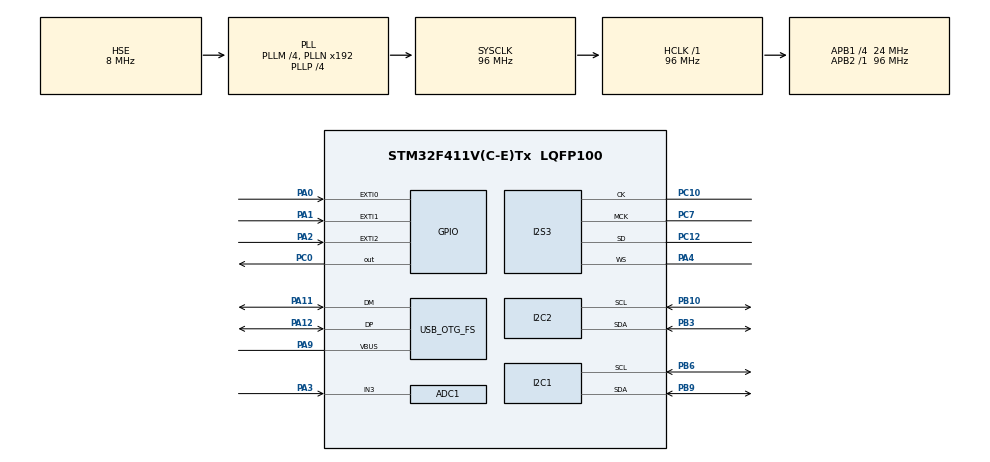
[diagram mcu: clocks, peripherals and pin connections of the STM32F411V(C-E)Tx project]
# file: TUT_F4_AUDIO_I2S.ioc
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ADC1.Channel-0\#ChannelRegularConversion=ADC_CHANNEL_3
ADC1.NbrOfConversionFlag=1
ADC1.Rank-0\#ChannelRegularConversion=1
ADC1.SamplingTime-0\#ChannelRegularConversion=ADC_SAMPLETIME_3CYCLES
ADC1.master=1
Dma.Request0=SPI3_TX
Dma.SPI3_TX.0.Direction=DMA_MEMORY_TO_PERIPH
Dma.SPI3_TX.0.FIFOMode=DMA_FIFOMODE_ENABLE
Dma.SPI3_TX.0.FIFOThreshold=DMA_FIFO_THRESHOLD_FULL
Dma.SPI3_TX.0.Instance=DMA1_Stream5
Dma.SPI3_TX.0.MemBurst=DMA_MBURST_SINGLE
Dma.SPI3_TX.0.MemDataAlignment=DMA_MDATAALIGN_HALFWORD
Dma.SPI3_TX.0.MemInc=DMA_MINC_ENABLE
Dma.SPI3_TX.0.Mode=DMA_CIRCULAR
Dma.SPI3_TX.0.PeriphBurst=DMA_PBURST_SINGLE
Dma.SPI3_TX.0.PeriphDataAlignment=DMA_PDATAALIGN_HALFWORD
Dma.SPI3_TX.0.PeriphInc=DMA_PINC_DISABLE
Dma.SPI3_TX.0.Priority=DMA_PRIORITY_LOW
FATFS._USE_LFN=1
I2S3.AudioFreq=I2S_AUDIOFREQ_44K
I2S3.ErrorAudioFreq=1.45 %
I2S3.FullDuplexMode=I2S_FULLDUPLEXMODE_DISABLE
I2S3.Instance=SPI$Index
I2S3.RealAudioFreq=44.642 KHz
I2S3.VirtualMode=I2S_MODE_MASTER
Mcu.Family=STM32F4
Mcu.Name=STM32F411V(C-E)Tx
Mcu.Package=LQFP100
NVIC.ADC_IRQn=true\:0\:0\:false\:false\:true\:true\:true\:true
NVIC.DMA1_Stream5_IRQn=true\:0\:0\:false\:false\:true\:false\:true\:true
NVIC.EXTI0_IRQn=true\:0\:0\:false\:false\:true\:true\:true\:true
NVIC.EXTI1_IRQn=true\:0\:0\:false\:false\:true\:true\:true\:true
NVIC.EXTI2_IRQn=true\:0\:0\:false\:false\:true\:true\:true\:true
NVIC.OTG_FS_IRQn=true\:0\:0\:false\:false\:true\:true\:true\:true
NVIC.PriorityGroup=NVIC_PRIORITYGROUP_0
NVIC.TIM3_IRQn=true\:0\:0\:false\:false\:true\:true\:true\:true
PA0-WKUP.GPIO_PuPd=GPIO_PULLDOWN
PA0-WKUP.Signal=GPXTI0
PA1.GPIO_PuPd=GPIO_PULLDOWN
PA1.Signal=GPXTI1
PA11.Mode=Host_Only
PA11.Signal=USB_OTG_FS_DM
PA12.Mode=Host_Only
PA12.Signal=USB_OTG_FS_DP
PA2.GPIO_PuPd=GPIO_PULLDOWN
PA2.Signal=GPXTI2
PA3.Signal=SharedAnalog_PA3
PA4.Mode=Half_Duplex_Master
PA4.Signal=I2S3_WS
PA9.Mode=Activate_VBUS
PA9.Signal=USB_OTG_FS_VBUS
PB10.Mode=I2C
PB10.Signal=I2C2_SCL
PB3.Mode=I2C
PB3.Signal=I2C2_SDA
PB6.GPIO_Pu=GPIO_PULLUP
PB6.Mode=I2C
PB6.Signal=I2C1_SCL
PB9.GPIO_Pu=GPIO_PULLUP
PB9.Mode=I2C
PB9.Signal=I2C1_SDA
PC0.Signal=GPIO_Output
PC10.Mode=Half_Duplex_Master
PC10.Signal=I2S3_CK
PC12.Mode=Half_Duplex_Master
PC12.Signal=I2S3_SD
PC7.Mode=Master_Clock_Activated
PC7.Signal=I2S3_MCK
PH0\ -\ OSC_IN.Mode=HSE-External-Oscillator
PH0\ -\ OSC_IN.Signal=RCC_OSC_IN
PH1\ -\ OSC_OUT.Mode=HSE-External-Oscillator
PH1\ -\ OSC_OUT.Signal=RCC_OSC_OUT
ProjectManager.HeapSize=0x200
ProjectManager.StackSize=0x400
ProjectManager.TargetToolchain=STM32CubeIDE
RCC.48MHZClocksFreq_Value=48000000
RCC.AHBFreq_Value=96000000
RCC.APB1CLKDivider=RCC_HCLK_DIV4
RCC.APB1Freq_Value=24000000
RCC.APB1TimFreq_Value=48000000
RCC.APB2Freq_Value=96000000
RCC.APB2TimFreq_Value=96000000
RCC.CortexFreq_Value=96000000
RCC.HCLKFreq_Value=96000000
RCC.HSE_VALUE=8000000
RCC.HSI_VALUE=16000000
RCC.LSE_VALUE=32768
RCC.PLLI2SM=5
RCC.PLLI2SN=200
RCC.PLLM=4
RCC.PLLP=RCC_PLLP_DIV4
RCC.PLLQ=8
RCC.SYSCLKFreq_VALUE=96000000
RCC.SYSCLKSource=RCC_SYSCLKSOURCE_PLLCLK
RCC.VCOOutputFreq_Value=384000000
SH.SharedAnalog_PA3.0=GPIO_Analog
SH.SharedAnalog_PA3.1=ADC1_IN3,IN3
TIM3.Channel-Output\ Compare1\ No\ Output=TIM_CHANNEL_1
TIM3.Period=999
TIM3.Prescaler=47999
TIM3.Pulse-Output\ Compare1\ No\ Output=999
USB_HOST.BSP.number=1
USB_HOST.USBH_HandleTypeDef=hUsbHostFS
USB_HOST.VirtualModeFS=Msc
USB_HOST0.BSP.STBoard=false
USB_HOST0.BSP.api=Unknown
USB_HOST0.BSP.instance=PC0
USB_HOST0.BSP.ip=GPIO
USB_HOST0.BSP.mode=Output
USB_HOST0.BSP.name=Drive_VBUS_FS
USB_HOST0.BSP.solution=PC0
USB_OTG_FS.VirtualMode=Host_Only
USB_OTG_FS.phy_itface=HCD_PHY_EMBEDDED
VP_FATFS_VS_USB.Mode=USB
VP_TIM3_VS_no_output1.Mode=Output Compare1 No Output
VP_USB_HOST_VS_USB_HOST_MSC_FS.Mode=MSC_FS
board=STM32F411E-DISCO

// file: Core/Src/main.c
/* USER CODE BEGIN Header */
/**
  ******************************************************************************
  * @file           : main.c
  * @brief          : Main program body
  ******************************************************************************
  * @attention
  *
  * <h2><center>&copy; Copyright (c) 2021 STMicroelectronics.
  * All rights reserved.</center></h2>
  *
  * This software component is licensed by ST under Ultimate Liberty license
  * SLA0044, the "License"; You may not use this file except in compliance with
  * the License. You may obtain a copy of the License at:
  *                             www.st.com/SLA0044
  *
  ******************************************************************************
  */
/* USER CODE END Header */
#include "main.h"
#include "fatfs.h"
#include "usb_host.h"

/* USER CODE BEGIN Includes */

#include "waveplayer.h"
#include "File_Handling.h"
#include "string.h"
#include <stdio.h>
#include "i2c_lcd.h"
#include <stdlib.h>
#include <stm32f4xx.h>

/* USER CODE END Includes */

/* USER CODE BEGIN PD */
#define TAM_STRING 40

/* USER CODE END PD */

ADC_HandleTypeDef hadc1;

I2C_HandleTypeDef hi2c1;
I2C_HandleTypeDef hi2c2;

I2S_HandleTypeDef hi2s3;
DMA_HandleTypeDef hdma_spi3_tx;

TIM_HandleTypeDef htim3;

/* USER CODE BEGIN PV */

I2C_LCD_HandleTypeDef lcd1;

/* USER CODE END PV */

void SystemClock_Config(void);
static void MX_GPIO_Init(void);
static void MX_DMA_Init(void);
static void MX_I2C1_Init(void);
static void MX_I2S3_Init(void);
static void MX_I2C2_Init(void);
static void MX_ADC1_Init(void);
static void MX_TIM3_Init(void);
void MX_USB_HOST_Process(void);

/* USER CODE BEGIN 0 */

extern ApplicationTypeDef Appli_state;
extern AUDIO_PLAYBACK_StateTypeDef AudioState;
extern uint32_t uwVolume = 75;
extern FRESULT fresult;
extern FILELIST_FileTypeDef TxtList;
extern uint16_t NumObs;

int IsFinished = 0;
volatile uint32_t valpot;
volatile uint8_t idx = 0;

volatile estado = 0;
volatile uint8_t t_linea = 0;
volatile uint8_t t_letra_deseado = 0;

volatile uint8_t cambio_linea = 1;
volatile uint8_t primera_linea = 1;

FIL filetxt;
char buffertxt[4096];

// Banderas botones
volatile boton1 = 0;	// izquierda
volatile boton2 = 0;	// derecha
volatile boton0 = 0;	// centro

void HAL_GPIO_EXTI_Callback(uint16_t GPIO_Pin)
{
	static uint32_t t_button = 0;

		if(HAL_GetTick() - t_button > 20){

			if (GPIO_Pin == GPIO_PIN_0)
			{
				boton0 = 1;
				//AudioState = AUDIO_STATE_NEXT;
				if(estado == 2){
					if (AudioState == AUDIO_STATE_PLAY)
					{
						AudioState = AUDIO_STATE_PAUSE;
						HAL_TIM_OC_Stop_IT(&htim3, TIM_CHANNEL_1);
						boton0=0;
					}

					if (AudioState == AUDIO_STATE_WAIT)
					{
						AudioState = AUDIO_STATE_RESUME;
						HAL_TIM_OC_Start_IT(&htim3, TIM_CHANNEL_1);
						boton0=0;
					}
				}
			}

			else if(GPIO_Pin == GPIO_PIN_1)
			{
				boton1 = 1;

			}

			else if (GPIO_Pin == GPIO_PIN_2)
			{
				boton2 = 1;
			}

		t_button = HAL_GetTick();
		}
}

void LeerPotenciometro(void){
	// No es necesario comprobar quién ha generado la interrupción
	HAL_ADC_Start(&hadc1);
	HAL_ADC_PollForConversion(&hadc1, 1000);
	valpot = HAL_ADC_GetValue(&hadc1);
	uwVolume = valpot*100/4095;
	if(uwVolume < 10)
		uwVolume = 10;
	else if(uwVolume > 90)
		uwVolume = 90;
	AUDIO_OUT_SetVolume(uwVolume);
}

void init_lcds(void){
	lcd1.hi2c = &hi2c2;
	lcd1.address = 0x4E;
	lcd_init(&lcd1);
}

void lcd_send_two_lines(const char *text) {

    char line1[17] = {0}; // Línea 1 (16 caracteres + terminador nulo)
    char line2[17] = {0}; // Línea 2 (16 caracteres + terminador nulo)
    int i=0;
    // Copiar los primeros 16 caracteres a la primera línea
    strncpy(line1, text, 16);

    // Si hay más de 16 caracteres, copiar los siguientes 16 a la segunda línea
    if (strlen(text) > 16) {
        strncpy(line2, text + 16, 16);
    }

    while (line2[i] != '\0') {  // Recorrer la cadena
            if (line2[i] == '.') {  // Si encontramos un punto
                line2[i] = '\0';  // Reemplazamos el punto por un carácter nulo
                break;  // Detenemos la búsqueda
            }
            i++;
        }
    while (line1[i] != '\0') {  // Recorrer la cadena
            if (line1[i] == '\r') {  // Si encontramos un punto
                line1[i] = ' ';  // Reemplazamos el punto por un carácter nulo
                break;  // Detenemos la búsqueda
            }
            i++;
         }

    while (line2[i] != '\0') {  // Recorrer la cadena
                if (line2[i] == '\r') {  // Si encontramos un punto
                    line2[i] = ' ';  // Reemplazamos el punto por un carácter nulo
                    break;  // Detenemos la búsqueda
                }
                i++;
    }

    // Mostrar las líneas en el LCD
    lcd_gotoxy(&lcd1, 0, 0);
    lcd_puts(&lcd1, line1);

    lcd_gotoxy(&lcd1, 0, 1);
    lcd_puts(&lcd1, line2);
}

void HAL_TIM_OC_DelayElapsedCallback(TIM_HandleTypeDef *htim)
{
	t_linea++;
}

void LeerFicheroTexto(char* buffer){
	UINT bytesRead;
	uint8_t i = 0;
	uint8_t buffer_correcto = 0;

	strcpy(buffer,"");
	fresult = f_read(&filetxt, buffer, 4096, &bytesRead);
	if(fresult == FR_OK){
		//Paramos al final de la última linea completa
		buffer_correcto = 0;
		for(i = bytesRead-1; i>0 && buffer_correcto == 0; i--){
			if(buffer[i]=='\n'){
				buffer[i+1] = '\0';
				fresult = f_lseek(&filetxt,f_tell(&filetxt) + i - (bytesRead));
				buffer_correcto = 1;
			}
		}
	}
}

void EnviarLetra(char* buffer_letra){
	static char linea[TAM_STRING] = "";
	char t_deseado_str[TAM_STRING];

	if(cambio_linea){
		if(primera_linea == 1){
			strncpy(linea,strtok(buffer_letra, "\n"),TAM_STRING);
			primera_linea = 0;
		}
		else {
			strncpy(linea,strtok(NULL, "\n"),TAM_STRING);
		}

		if(linea[0] == '\0'){
			strcpy(buffer_letra,"");
			LeerFicheroTexto(buffer_letra);
			strncpy(linea,strtok(buffer_letra, "\n"),TAM_STRING);
		}

		if(!strcmp("&",linea)){
			AudioState = AUDIO_STATE_STOP;
			uwVolume = 10;
			AUDIO_OUT_SetVolume(uwVolume);
			return;
		}

		//SACAR EL TIEMPO Y CONVERTIRLO
		strncpy(t_deseado_str,linea,2);
		t_letra_deseado = (t_deseado_str[0]-'0')*10+(t_deseado_str[1]-'0');

		strcpy(linea,linea+2);

		lcd_send_two_lines(linea);
		cambio_linea = 0;
	}
	else if(t_linea >= t_letra_deseado){
		t_linea = 0;
		cambio_linea = 1;
		lcd_gotoxy(&lcd1,0,0);
		lcd_clear(&lcd1);
	}
}

/* USER CODE END 0 */

int main(void)
{

  /* MCU Configuration--------------------------------------------------------*/

  /* Reset of all peripherals, Initializes the Flash interface and the Systick. */
  HAL_Init();

  /* Configure the system clock */
  SystemClock_Config();

  /* Initialize all configured peripherals */
  MX_GPIO_Init();
  MX_DMA_Init();
  MX_I2C1_Init();
  MX_I2S3_Init();
  MX_FATFS_Init();
  MX_USB_HOST_Init();
  MX_I2C2_Init();
  MX_ADC1_Init();
  MX_TIM3_Init();
  /* USER CODE BEGIN 2 */
  init_lcds();

  //HAL_ADC_Start_IT(&hadc1);
  HAL_ADC_Start(&hadc1);

  /* USER CODE END 2 */

  /* Infinite loop */
  while (1)
  {
    MX_USB_HOST_Process();

    /* USER CODE BEGIN 3 */
    switch(estado)
    {
    case 0:
    	lcd_gotoxy(&lcd1,0,0);
    	lcd_puts(&lcd1, "CONECTE USB");
    	if (Appli_state == APPLICATION_READY)
    	{
    		estado = 1;
    		lcd_gotoxy(&lcd1,0,0);
        	lcd_clear(&lcd1);
        	Mount_USB();
        	AUDIO_StorageParse();
    	}
    	break;

    case 1:
    	lcd_send_two_lines((char *)TxtList.file[idx].name);
    	//Mount_USB();
    	if (IsFinished)
    		IsFinished = 0;

    	//estado = 2;
    	if (boton0)
    	{
    		estado = 2;
    		boton0 = 0;
    		lcd_gotoxy(&lcd1,0,0);
    		lcd_clear(&lcd1);
    		AudioState = AUDIO_STATE_RESUME;
    		primera_linea = 1;
    	}
    	if (boton1)
    	{
    		if(idx>0)
    		{
    			idx--;
    		}
    		else
    		{
    			idx = NumObs-1;
    		}
    		boton1 = 0;
    		lcd_gotoxy(&lcd1,0,0);
    		lcd_clear(&lcd1);
    	}

    	if (boton2)
    	{
    		if(idx<NumObs-1)
    		{
    			idx++;
    		}
    		else
    		{
    		    idx = 0;
    		}
    		boton2 = 0;
    		lcd_gotoxy(&lcd1,0,0);
    		lcd_clear(&lcd1);
    	}

    	break;

    case 2:
    	//lcd_gotoxy(&lcd1,0,0);
    	//lcd_puts(&lcd1, "ESTADO 2");

    	if(fresult == FR_OK) // USB montado correctamente
    	{
    		Mount_USB();
    		AUDIO_PLAYER_Start(idx);
    		HAL_TIM_OC_Start_IT(&htim3, TIM_CHANNEL_1);
    		f_open(&filetxt, (char*)TxtList.file[idx].name, FA_READ);
    		LeerFicheroTexto(buffertxt);

    		if (IsFinished)
    			IsFinished = 0;

    		while (!IsFinished)
    		{
    			AUDIO_PLAYER_Process(TRUE);
    			EnviarLetra(buffertxt);
    		    LeerPotenciometro();
    		    if(boton1)
    		    {
    		    	boton1 = 0;
    		    	AudioState = AUDIO_STATE_STOP;
    		    	uwVolume = 10;
    		    	AUDIO_OUT_SetVolume(uwVolume);

    		    	// Silenciamos el audio porque queda un residuo de la canción al pararla

    		    }
    		    if (AudioState == AUDIO_STATE_STOP)
    		    {
    		    	IsFinished = 1;
    		    	estado = 1;
    	    		HAL_TIM_OC_Stop_IT(&htim3, TIM_CHANNEL_1);
    	    		f_lseek(&filetxt, 0);
    	    		f_close(&filetxt);
    	    		t_letra_deseado=0;
    	    		t_linea=0;
    	    		cambio_linea = 1;
    		    	AudioState = AUDIO_STATE_IDLE;
    		    }

    		}
    	}
    	else
    		estado = 0;

    	break;

    case 3:
    	break;
    }

    //if (Appli_state == APPLICATION_READY)
    //{
    //	Mount_USB();

    //}

  }
  /* USER CODE END 3 */
}

void SystemClock_Config(void)
{
  RCC_OscInitTypeDef RCC_OscInitStruct = {0};
  RCC_ClkInitTypeDef RCC_ClkInitStruct = {0};

  /** Configure the main internal regulator output voltage
  */
  __HAL_RCC_PWR_CLK_ENABLE();
  __HAL_PWR_VOLTAGESCALING_CONFIG(PWR_REGULATOR_VOLTAGE_SCALE1);

  /** Initializes the RCC Oscillators according to the specified parameters
  * in the RCC_OscInitTypeDef structure.
  */
  RCC_OscInitStruct.OscillatorType = RCC_OSCILLATORTYPE_HSE;
  RCC_OscInitStruct.HSEState = RCC_HSE_ON;
  RCC_OscInitStruct.PLL.PLLState = RCC_PLL_ON;
  RCC_OscInitStruct.PLL.PLLSource = RCC_PLLSOURCE_HSE;
  RCC_OscInitStruct.PLL.PLLM = 4;
  RCC_OscInitStruct.PLL.PLLN = 192;
  RCC_OscInitStruct.PLL.PLLP = RCC_PLLP_DIV4;
  RCC_OscInitStruct.PLL.PLLQ = 8;
  if (HAL_RCC_OscConfig(&RCC_OscInitStruct) != HAL_OK)
  {
    Error_Handler();
  }

  /** Initializes the CPU, AHB and APB buses clocks
  */
  RCC_ClkInitStruct.ClockType = RCC_CLOCKTYPE_HCLK|RCC_CLOCKTYPE_SYSCLK
                              |RCC_CLOCKTYPE_PCLK1|RCC_CLOCKTYPE_PCLK2;
  RCC_ClkInitStruct.SYSCLKSource = RCC_SYSCLKSOURCE_PLLCLK;
  RCC_ClkInitStruct.AHBCLKDivider = RCC_SYSCLK_DIV1;
  RCC_ClkInitStruct.APB1CLKDivider = RCC_HCLK_DIV4;
  RCC_ClkInitStruct.APB2CLKDivider = RCC_HCLK_DIV1;

  if (HAL_RCC_ClockConfig(&RCC_ClkInitStruct, FLASH_LATENCY_3) != HAL_OK)
  {
    Error_Handler();
  }
}

static void MX_ADC1_Init(void)
{

  ADC_ChannelConfTypeDef sConfig = {0};

  /** Configure the global features of the ADC (Clock, Resolution, Data Alignment and number of conversion)
  */
  hadc1.Instance = ADC1;
  hadc1.Init.ClockPrescaler = ADC_CLOCK_SYNC_PCLK_DIV4;
  hadc1.Init.Resolution = ADC_RESOLUTION_12B;
  hadc1.Init.ScanConvMode = DISABLE;
  hadc1.Init.ContinuousConvMode = DISABLE;
  hadc1.Init.DiscontinuousConvMode = DISABLE;
  hadc1.Init.ExternalTrigConvEdge = ADC_EXTERNALTRIGCONVEDGE_NONE;
  hadc1.Init.ExternalTrigConv = ADC_SOFTWARE_START;
  hadc1.Init.DataAlign = ADC_DATAALIGN_RIGHT;
  hadc1.Init.NbrOfConversion = 1;
  hadc1.Init.DMAContinuousRequests = DISABLE;
  hadc1.Init.EOCSelection = ADC_EOC_SINGLE_CONV;
  if (HAL_ADC_Init(&hadc1) != HAL_OK)
  {
    Error_Handler();
  }

  /** Configure for the selected ADC regular channel its corresponding rank in the sequencer and its sample time.
  */
  sConfig.Channel = ADC_CHANNEL_3;
  sConfig.Rank = 1;
  sConfig.SamplingTime = ADC_SAMPLETIME_3CYCLES;
  if (HAL_ADC_ConfigChannel(&hadc1, &sConfig) != HAL_OK)
  {
    Error_Handler();
  }

}

static void MX_I2C1_Init(void)
{

  hi2c1.Instance = I2C1;
  hi2c1.Init.ClockSpeed = 100000;
  hi2c1.Init.DutyCycle = I2C_DUTYCYCLE_2;
  hi2c1.Init.OwnAddress1 = 0;
  hi2c1.Init.AddressingMode = I2C_ADDRESSINGMODE_7BIT;
  hi2c1.Init.DualAddressMode = I2C_DUALADDRESS_DISABLE;
  hi2c1.Init.OwnAddress2 = 0;
  hi2c1.Init.GeneralCallMode = I2C_GENERALCALL_DISABLE;
  hi2c1.Init.NoStretchMode = I2C_NOSTRETCH_DISABLE;
  if (HAL_I2C_Init(&hi2c1) != HAL_OK)
  {
    Error_Handler();
  }

}

static void MX_I2C2_Init(void)
{

  hi2c2.Instance = I2C2;
  hi2c2.Init.ClockSpeed = 100000;
  hi2c2.Init.DutyCycle = I2C_DUTYCYCLE_2;
  hi2c2.Init.OwnAddress1 = 0;
  hi2c2.Init.AddressingMode = I2C_ADDRESSINGMODE_7BIT;
  hi2c2.Init.DualAddressMode = I2C_DUALADDRESS_DISABLE;
  hi2c2.Init.OwnAddress2 = 0;
  hi2c2.Init.GeneralCallMode = I2C_GENERALCALL_DISABLE;
  hi2c2.Init.NoStretchMode = I2C_NOSTRETCH_DISABLE;
  if (HAL_I2C_Init(&hi2c2) != HAL_OK)
  {
    Error_Handler();
  }

}

static void MX_I2S3_Init(void)
{

  hi2s3.Instance = SPI3;
  hi2s3.Init.Mode = I2S_MODE_MASTER_TX;
  hi2s3.Init.Standard = I2S_STANDARD_PHILIPS;
  hi2s3.Init.DataFormat = I2S_DATAFORMAT_16B;
  hi2s3.Init.MCLKOutput = I2S_MCLKOUTPUT_ENABLE;
  hi2s3.Init.AudioFreq = I2S_AUDIOFREQ_44K;
  hi2s3.Init.CPOL = I2S_CPOL_LOW;
  hi2s3.Init.ClockSource = I2S_CLOCK_PLL;
  hi2s3.Init.FullDuplexMode = I2S_FULLDUPLEXMODE_DISABLE;
  if (HAL_I2S_Init(&hi2s3) != HAL_OK)
  {
    Error_Handler();
  }

}

static void MX_TIM3_Init(void)
{

  TIM_MasterConfigTypeDef sMasterConfig = {0};
  TIM_OC_InitTypeDef sConfigOC = {0};

  htim3.Instance = TIM3;
  htim3.Init.Prescaler = 47999;
  htim3.Init.CounterMode = TIM_COUNTERMODE_UP;
  htim3.Init.Period = 999;
  htim3.Init.ClockDivision = TIM_CLOCKDIVISION_DIV1;
  htim3.Init.AutoReloadPreload = TIM_AUTORELOAD_PRELOAD_DISABLE;
  if (HAL_TIM_OC_Init(&htim3) != HAL_OK)
  {
    Error_Handler();
  }
  sMasterConfig.MasterOutputTrigger = TIM_TRGO_RESET;
  sMasterConfig.MasterSlaveMode = TIM_MASTERSLAVEMODE_DISABLE;
  if (HAL_TIMEx_MasterConfigSynchronization(&htim3, &sMasterConfig) != HAL_OK)
  {
    Error_Handler();
  }
  sConfigOC.OCMode = TIM_OCMODE_TIMING;
  sConfigOC.Pulse = 999;
  sConfigOC.OCPolarity = TIM_OCPOLARITY_HIGH;
  sConfigOC.OCFastMode = TIM_OCFAST_DISABLE;
  if (HAL_TIM_OC_ConfigChannel(&htim3, &sConfigOC, TIM_CHANNEL_1) != HAL_OK)
  {
    Error_Handler();
  }

}

static void MX_DMA_Init(void)
{

  /* DMA controller clock enable */
  __HAL_RCC_DMA1_CLK_ENABLE();

  /* DMA interrupt init */
  /* DMA1_Stream5_IRQn interrupt configuration */
  HAL_NVIC_SetPriority(DMA1_Stream5_IRQn, 0, 0);
  HAL_NVIC_EnableIRQ(DMA1_Stream5_IRQn);

}

static void MX_GPIO_Init(void)
{
  GPIO_InitTypeDef GPIO_InitStruct = {0};

  /* GPIO Ports Clock Enable */
  __HAL_RCC_GPIOH_CLK_ENABLE();
  __HAL_RCC_GPIOC_CLK_ENABLE();
  __HAL_RCC_GPIOA_CLK_ENABLE();
  __HAL_RCC_GPIOB_CLK_ENABLE();

  /*Configure GPIO pin Output Level */
  HAL_GPIO_WritePin(GPIOC, GPIO_PIN_0, GPIO_PIN_RESET);

  /*Configure GPIO pin : PC0 */
  GPIO_InitStruct.Pin = GPIO_PIN_0;
  GPIO_InitStruct.Mode = GPIO_MODE_OUTPUT_PP;
  GPIO_InitStruct.Pull = GPIO_NOPULL;
  GPIO_InitStruct.Speed = GPIO_SPEED_FREQ_LOW;
  HAL_GPIO_Init(GPIOC, &GPIO_InitStruct);

  /*Configure GPIO pins : PA0 PA1 PA2 */
  GPIO_InitStruct.Pin = GPIO_PIN_0|GPIO_PIN_1|GPIO_PIN_2;
  GPIO_InitStruct.Mode = GPIO_MODE_IT_RISING;
  GPIO_InitStruct.Pull = GPIO_PULLDOWN;
  HAL_GPIO_Init(GPIOA, &GPIO_InitStruct);

  /* EXTI interrupt init*/
  HAL_NVIC_SetPriority(EXTI0_IRQn, 0, 0);
  HAL_NVIC_EnableIRQ(EXTI0_IRQn);

  HAL_NVIC_SetPriority(EXTI1_IRQn, 0, 0);
  HAL_NVIC_EnableIRQ(EXTI1_IRQn);

  HAL_NVIC_SetPriority(EXTI2_IRQn, 0, 0);
  HAL_NVIC_EnableIRQ(EXTI2_IRQn);

}

void Error_Handler(void)
{
  __disable_irq();
  while (1)
  {
  }
}
